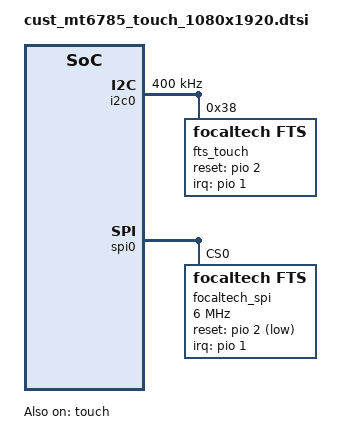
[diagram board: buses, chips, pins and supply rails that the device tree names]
// SPDX-License-Identifier: GPL-2.0+
/*
 * Copyright (c) 2019 MediaTek Inc.
 *
 */

/* TOUCH start */
&i2c0 {
	clock-frequency = <400000>;
	pinctrl-names = "default", "ts_int_active",
		"ts_reset_active", "ts_int_suspend",
		"ts_reset_suspend", "ts_i2c_mode",
		"ts_eint_high";
	pinctrl-0 = <&ctp_pins_default>;
	pinctrl-1 = <&ctp_ts_int_active>;
	pinctrl-2 = <&ctp_ts_reset_active>;
	pinctrl-3 = <&ctp_ts_int_suspend>;
	pinctrl-4 = <&ctp_ts_reset_suspend>;
	pinctrl-5 = <&ctp_ts_i2c_mode>;
	pinctrl-6 = <&ctp_ts_int_as_gpio>;

//	gt1151@14 {
//		compatible = "goodix,gt1151";
//		reg = <0x14>;
//		status = "okay";
//	};

	fts_touch: focaltech@38{ 
		compatible = "focaltech,fts";
		reg = <0x38>;
		interrupt-parent = <&pio>;
		interrupts = <1 IRQ_TYPE_EDGE_FALLING 1 0>;
		focaltech,reset-gpio = <&pio 2 0x0>; 
		focaltech,irq-gpio = <&pio 1 0x0>;
		focaltech,max-touch-number = <10>;
		focaltech,display-coords =  <0 0 1080 2400>;
		
		//pinctrl-names = "pmx_ts_active","pmx_ts_suspend","pmx_ts_release";
		//pinctrl-0 = <&ts_int_active &ts_reset_active>;
		//pinctrl-1 = <&ts_int_suspend &ts_reset_suspend>;
		//pinctrl-2 = <&ts_release>;

		//focaltech,have-key;
		//focaltech,key-number = <3>;
		//focaltech,keys = <139 102 158>;
		//focaltech,key-x-coords = <200 600 800>;
		//focaltech,key-y-coords = <2000 2000 2000>;
	};

};

&touch {
	tpd-resolution = <1080 2400>;
	lcm-resolution = <1080 2400>;
	tpd-cfg-version = "config19";
	tpd-max-touch-num = <10>;
	interrupt-parent = <&pio>;
	interrupts = <1 IRQ_TYPE_EDGE_FALLING 1 0>;
	goodix,eint-gpio = <&pio 1 0x0>;
	goodix,reset-gpio = <&pio 2 0x0>;
	vtouch-supply = <&mt_pmic_vtp_ldo_reg>;

	/* Rotate cord when open blew lables */
	/*goodix,x2x;*/
	/*goodix,y2y;*/

	tpd-filter-enable = <0>;
	tpd-filter-pixel-density = <168>;
	tpd-filter-custom-prameters = <0 0 0 0 0 0 0 0 0 0 0 0>;
	tpd-filter-custom-speed = <0 0 0>;
	status = "okay";
};

//prize add by lipengpeng 20200923 start

&spi0 {
	focaltech_spi@0 {
		compatible = "focaltech,fts";
		reg = <0x0>;
		spi-max-frequency = <6000000>;
		interrupt-parent = <&pio>;
		//interrupts = <13 0x2>;
		interrupts = <1 IRQ_TYPE_EDGE_FALLING 1 0>;
		focaltech,reset-gpio = <&pio 2 0x01>; 
		focaltech,irq-gpio = <&pio 1 0x02>; 	
		focaltech,max-touch-number = <10>;			
		focaltech,display-coords =  <0 0 1080 2400>;
		
		pinctrl-names = "pmx_ts_active","pmx_ts_suspend";//,"pmx_ts_release";
		pinctrl-0 = <&ctp_ts_int_active &ctp_ts_reset_active>;
		pinctrl-1 = <&ctp_ts_int_suspend &ctp_ts_reset_suspend>;
		//pinctrl-2 = <&ts_release>;
		status = "okay";

	};
};
//prize add by lipengpeng 20200923 start


&pio {
	ctp_pins_default: eintdefault {
	};
	ctp_ts_int_active: int_active {
		pins_cmd_dat {
			pinmux = <PINMUX_GPIO1__FUNC_GPIO1>;
			input-enable;
			bias-pill-up = <MTK_PUPD_SET_R1R0_11>;
		};
	};
	ctp_ts_reset_active: reset_active {
		pins_cmd_dat {
			pinmux = <PINMUX_GPIO2__FUNC_GPIO2>;
			output-high;
		};
	};
	ctp_ts_int_suspend: int_suspend {
		pins_cmd_dat {
			pinmux = <PINMUX_GPIO1__FUNC_GPIO1>;
			output-low;
		};
	};
	ctp_ts_reset_suspend: reset_suspend {
		pins_cmd_dat {
			pinmux = <PINMUX_GPIO2__FUNC_GPIO2>;
			output-low;
		};
	};
	ctp_ts_i2c_mode: i2cmode_default {
		pins_cmd_dat {
			pinmux = <PINMUX_GPIO51__FUNC_SCL0>,
				<PINMUX_GPIO52__FUNC_SDA0>;
		};
	};
	ctp_ts_int_as_gpio: int_high {
		pins_cmd_dat {
			pinmux = <PINMUX_GPIO1__FUNC_GPIO1>;
			output-high;
		};
	};
};
/* TOUCH end */

